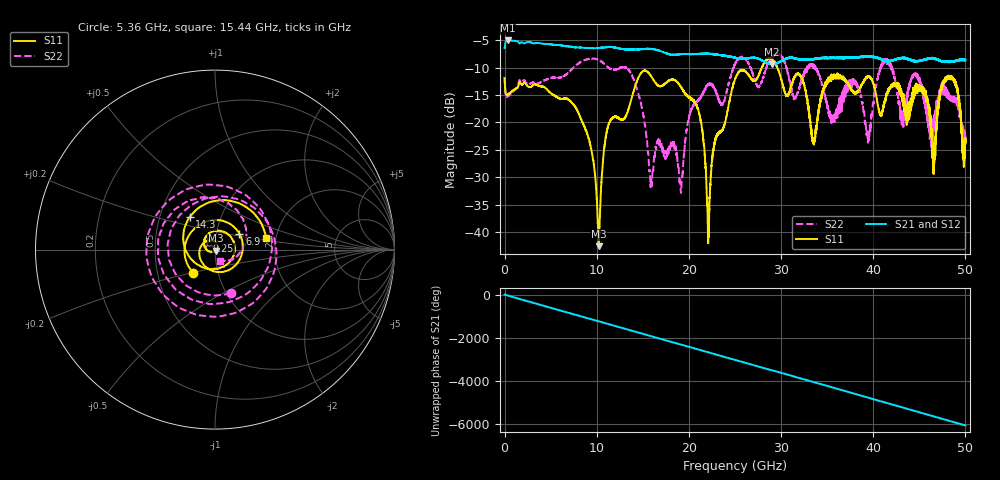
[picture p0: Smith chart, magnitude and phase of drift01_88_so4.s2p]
!Created with skrf (http://scikit-rf.org).
# Hz S RI R 50.0
!freq ReS11 ImS11 ReS21 ImS21 ReS12 ImS12 ReS22 ImS22
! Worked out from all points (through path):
!   10001 points, 300 kHz to 50 GHz, reference 50 ohm
!   highest |S21| = -5.06 dB at 325.3 MHz (marker M1); lowest = -9.4 dB at 29.04 GHz (marker M2)
!   group delay of S21, straight-line fit = 336 ps
!   lowest |S11| = -42.6 dB at 10.22 GHz (marker M3), VSWR 1.02, Z = 50.5 - j0.545 ohm
!   |S11| at or under -10 dB: start of sweep to 27.9 GHz; 27.90965 GHz to 27.91022 GHz (572.5 kHz wide, 0.00205 % of centre); 29.6 GHz to end of sweep (the widest 3 of 4)
!   |S22| runs from -32.8 to -7.5 dB; largest |S21 - S12| = 0.013
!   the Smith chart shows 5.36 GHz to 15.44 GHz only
!   S11 on the Smith chart (normalised r, x): 5.36 GHz: 0.76, -0.20; 6.9 GHz: 1.29, +0.23; 9.25 GHz: 0.91, +0.09; 14.3 GHz: 0.71, +0.27; 15.44 GHz: 1.77, +0.25
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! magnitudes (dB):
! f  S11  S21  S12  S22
! 300 kHz  -11.9  -6.5  -6.5  -11.7
! 325.3 MHz  -15.0  -5.1  -5.1  -15.3
! 5.36 GHz  -15.0  -5.8  -5.9  -11.8
! 6.9 GHz  -15.8  -6.1  -6.1  -11.0
! 8.335 GHz  -19.5  -6.3  -6.4  -8.9
! 9.25 GHz  -23.7  -6.4  -6.5  -8.4
! 10.22 GHz  -42.6  -6.4  -6.4  -8.6
! 11.23 GHz  -20.7  -6.3  -6.3  -9.9
! 14.3 GHz  -12.8  -6.7  -6.7  -13.5
! 15.44 GHz  -10.7  -6.6  -6.6  -23.0
! 16.67 GHz  -13.3  -6.9  -6.9  -23.3
! 19.14 GHz  -13.6  -7.6  -7.6  -32.7
! 20.85 GHz  -16.9  -7.6  -7.5  -16.1
! 22.12 GHz  -40.9  -7.5  -7.5  -13.3
! 25 GHz  -12.1  -8.2  -8.2  -9.4
! 29.04 GHz  -8.6  -9.4  -9.4  -8.1
! 33.34 GHz  -22.7  -8.5  -8.4  -9.6
! 39.47 GHz  -11.6  -8.0  -8.0  -22.0
! 41.67 GHz  -13.8  -8.8  -8.8  -9.3
! 46.55 GHz  -27.1  -8.3  -8.3  -20.4
! 48.56 GHz  -12.0  -8.9  -8.8  -15.7
! 50 GHz  -23.9  -8.6  -8.7  -23.1
